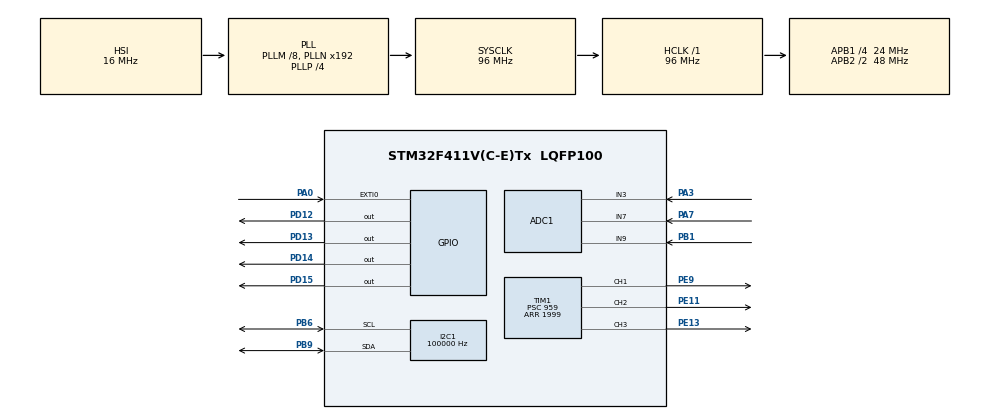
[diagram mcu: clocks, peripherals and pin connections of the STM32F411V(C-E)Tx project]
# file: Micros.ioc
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ADC1.Channel-1\#ChannelRegularConversion=ADC_CHANNEL_3
ADC1.Channel-2\#ChannelRegularConversion=ADC_CHANNEL_7
ADC1.Channel-3\#ChannelRegularConversion=ADC_CHANNEL_9
ADC1.ContinuousConvMode=ENABLE
ADC1.DMAContinuousRequests=ENABLE
ADC1.InjNumberOfConversion=0
ADC1.NbrOfConversion=3
ADC1.NbrOfConversionFlag=1
ADC1.Rank-1\#ChannelRegularConversion=1
ADC1.Rank-2\#ChannelRegularConversion=2
ADC1.Rank-3\#ChannelRegularConversion=3
ADC1.SamplingTime-1\#ChannelRegularConversion=ADC_SAMPLETIME_84CYCLES
ADC1.SamplingTime-2\#ChannelRegularConversion=ADC_SAMPLETIME_84CYCLES
ADC1.SamplingTime-3\#ChannelRegularConversion=ADC_SAMPLETIME_84CYCLES
ADC1.ScanConvMode=ENABLE
ADC1.master=1
Dma.ADC1.0.Direction=DMA_PERIPH_TO_MEMORY
Dma.ADC1.0.FIFOMode=DMA_FIFOMODE_DISABLE
Dma.ADC1.0.Instance=DMA2_Stream0
Dma.ADC1.0.MemDataAlignment=DMA_MDATAALIGN_WORD
Dma.ADC1.0.MemInc=DMA_MINC_ENABLE
Dma.ADC1.0.Mode=DMA_CIRCULAR
Dma.ADC1.0.PeriphDataAlignment=DMA_PDATAALIGN_WORD
Dma.ADC1.0.PeriphInc=DMA_PINC_DISABLE
Dma.ADC1.0.Priority=DMA_PRIORITY_LOW
Dma.Request0=ADC1
I2C1.ClockSpeed=100000
Mcu.Family=STM32F4
Mcu.Name=STM32F411V(C-E)Tx
Mcu.Package=LQFP100
NVIC.DMA2_Stream0_IRQn=true\:0\:0\:false\:false\:true\:false\:true\:true
NVIC.EXTI0_IRQn=true\:0\:0\:false\:false\:true\:true\:true\:true
NVIC.PriorityGroup=NVIC_PRIORITYGROUP_0
PA0-WKUP.Signal=GPXTI0
PA3.Signal=ADCx_IN3
PA7.Signal=ADCx_IN7
PB1.Signal=ADCx_IN9
PB6.Mode=I2C
PB6.Signal=I2C1_SCL
PB9.Mode=I2C
PB9.Signal=I2C1_SDA
PD12.Signal=GPIO_Output
PD13.Signal=GPIO_Output
PD14.Signal=GPIO_Output
PD15.Signal=GPIO_Output
PE11.Signal=S_TIM1_CH2
PE13.Signal=S_TIM1_CH3
PE9.Signal=S_TIM1_CH1
ProjectManager.HeapSize=0x200
ProjectManager.StackSize=0x400
ProjectManager.TargetToolchain=STM32CubeIDE
RCC.48MHZClocksFreq_Value=48000000
RCC.AHBFreq_Value=96000000
RCC.APB1CLKDivider=RCC_HCLK_DIV4
RCC.APB1Freq_Value=24000000
RCC.APB1TimFreq_Value=48000000
RCC.APB2CLKDivider=RCC_HCLK_DIV2
RCC.APB2Freq_Value=48000000
RCC.APB2TimFreq_Value=96000000
RCC.CortexFreq_Value=96000000
RCC.HCLKFreq_Value=96000000
RCC.HSE_VALUE=8000000
RCC.HSI_VALUE=16000000
RCC.LSE_VALUE=32768
RCC.PLLI2SM=5
RCC.PLLI2SN=200
RCC.PLLM=8
RCC.PLLP=RCC_PLLP_DIV4
RCC.PLLQ=8
RCC.SYSCLKFreq_VALUE=96000000
RCC.SYSCLKSource=RCC_SYSCLKSOURCE_PLLCLK
RCC.VCOOutputFreq_Value=384000000
SH.ADCx_IN3.0=ADC1_IN3,IN3
SH.ADCx_IN7.0=ADC1_IN7,IN7
SH.ADCx_IN9.0=ADC1_IN9,IN9
SH.S_TIM1_CH1.0=TIM1_CH1,PWM Generation1 CH1
SH.S_TIM1_CH2.0=TIM1_CH2,PWM Generation2 CH2
SH.S_TIM1_CH3.0=TIM1_CH3,PWM Generation3 CH3
TIM1.Channel-PWM\ Generation1\ CH1=TIM_CHANNEL_1
TIM1.Channel-PWM\ Generation2\ CH2=TIM_CHANNEL_2
TIM1.Channel-PWM\ Generation3\ CH3=TIM_CHANNEL_3
TIM1.Period=1999
TIM1.Prescaler=959
TIM1.Pulse-PWM\ Generation1\ CH1=100
TIM1.Pulse-PWM\ Generation2\ CH2=100
VP_TIM1_VS_ClockSourceINT.Mode=Internal
board=STM32F411E-DISCO

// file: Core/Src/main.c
/* USER CODE BEGIN Header */
/**
 ******************************************************************************
 * @file           : main.c
 * @brief          : Main program body
 ******************************************************************************
 * @attention
 *
 * Copyright (c) 2024 STMicroelectronics.
 * All rights reserved.
 *
 * This software is licensed under terms that can be found in the LICENSE file
 * in the root directory of this software component.
 * If no LICENSE file comes with this software, it is provided AS-IS.
 *
 ******************************************************************************
 */
/* USER CODE END Header */
#include "main.h"

/* USER CODE BEGIN Includes */
#include <math.h>
/* USER CODE END Includes */

/* USER CODE BEGIN PTD */
typedef struct{
	float X, Y, Z;
}Deg;

typedef struct{
	int16_t X, Y, Z;
}Data;

typedef struct {
	int16_t min, max;
}limits;

//////////////////////////
//		Sensores		//
//////////////////////////
typedef enum {G2 = 0b00, G4 = 0b01, G8 = 0b10, G16 = 0b11 } range_accel;
typedef enum {G1_3 = 0b001, G1_9 = 010, G2_5 = 0b011, G4_0 = 0b100, G4_7 = 0b101, G5_6 = 0b110 ,G8_1 = 0b111} range_comp;
typedef enum {Hz1 = 0b0001, Hz10 = 0b0010, Hz25 = 0b0011, Hz50 = 0b0100, Hz100 = 0b0101, Hz200 = 0b0110, Hz400 = 0b0111, Lp_def = 0b1000, Nr_def = 0b1001} ODR_accel;
typedef enum {Hz0_75 = 0b000, Hz1_5 = 0b001, Hz3_0 = 0b010, Hz7_5 = 0b011, Hz15 = 0b100, Hz30 = 0b101, Hz75 = 0b110, Hz220 = 0b111} ODR_comp;

//Tolerancia en comparación, Diff
typedef enum {XYZ_OUT_TOL = 0, X_IN_TOL = 1, Y_IN_TOL = 2, Z_IN_TOL = 3, XY_IN_TOL = 4, XZ_IN_TOL = 5, YZ_IN_TOL = 6, XYZ_IN_TOL = 7} diferencia;

//////////////////////
//		Botón		//
//////////////////////

typedef enum {Potenciometro = 0, MEMS} estado;

/* USER CODE END PTD */

/* USER CODE BEGIN PM */
#define Accel_Dir 0b0011001
#define Comp_Dir 0b0011110

#define Ctrl_accel_dir1 0x20
#define Ctrl_accel_dir2 0x23
#define Data_accel_dir 0x28

#define Ctrl_comp_dir1    	0x00 // Registro de control CRA_REG_M
#define Ctrl_comp_dir2    	0x02 // Registro de modo MR_REG_M
#define Data_comp_dir		0x03 // Registro de salida X (bajo)

#define MAX_LSB 32768 //2^15

//Potenciómetros
#define Res_CAD 4095.0 //Resolución del CAD = 12 bits = 4096-1 valores
#define VREF 3.3 //Voltaje de referencia = 3.3V
#define Range_Deg 180.0 //Rango de grados [0-180]
#define Num_Pot 3

//Diff+Luces
#define tolerance 5 //tolerancia en grados +-º

/* USER CODE END PM */

ADC_HandleTypeDef hadc1;
DMA_HandleTypeDef hdma_adc1;

I2C_HandleTypeDef hi2c1;

TIM_HandleTypeDef htim1;

/* USER CODE BEGIN PV */
Deg orientacion;
estado mode = Potenciometro;
const Deg NULO = {90,90,90};
//////////////////////////
//		Sensores		//
//////////////////////////
const int16_t factor_accel[4] = {2,4,8,16};
const uint16_t factor_compXY[7] = {1100,855,670,450,400,330,230};
const uint16_t factor_compZ[7] = {980,760,600,400,355,295,205};

uint8_t f_accel, f_comp;
Data offset_accel;
Data offset_comp;
Deg Deg_MEMS;

HAL_StatusTypeDef status_; //auxiliar

float diff_x; //valores comparados en función Diff
float diff_y;
float diff_z;
diferencia comp_tol;
uint8_t aux_luces = 0;

//////////////////////////////
//		Potenciómetros		//
//////////////////////////////
Deg Deg_pot;
uint32_t Pot_in[Num_Pot];

//////////////////////
//		Servos		//
//////////////////////

/*añadir aquí*/

/* USER CODE END PV */

void SystemClock_Config(void);
static void MX_GPIO_Init(void);
static void MX_DMA_Init(void);
static void MX_I2C1_Init(void);
static void MX_ADC1_Init(void);
static void MX_TIM1_Init(void);
/* USER CODE BEGIN PFP */

void Luces(void);
void LucesMEMS(diferencia d);
void LucesPOT(void);
void LucesSlowMove(void);

diferencia Diff(Deg* act, Deg* obj);
//////////////////////////
//		Sensores		//
//////////////////////////
void Init_Accel_Comp(uint8_t low_power_mode, ODR_accel Data_rate_accel, range_accel sensitivity_accel, ODR_comp data_rate_comp, range_comp sensitivity_comp);

Deg GetAngle(Data offset_accel, Data offset_comp);

void CalibrateAccel(Data* accel);
void GetAccel(Data* accel, Data offset);
void GetAccelRaw(uint8_t* raw_accel);
void ProcessAccel(uint8_t* raw_accel, Data * accel);
void Accel2Deg(Deg * deg, Data accel);

void CalibrateComp(Data * offset);
void GetComp(Data* comp, Data offset);
void GetCompRaw(uint8_t* raw_compass);
void ProcessComp(uint8_t* raw_comp, Data * comp);
void Comp2Deg(Deg* result, Data comp);

void Lectura (uint16_t address, uint8_t reg_dir, uint8_t *msg, uint16_t msg_size);
void Escritura (uint16_t address, uint8_t reg_dir, uint8_t *msg, uint16_t msg_size);

//////////////////////////////
//		Potenciómetros		//
//////////////////////////////
void CalculoDegPot(void);

//////////////////////
//		Servos		//
//////////////////////
void SlowMove(Deg* orient, Deg ref);
void SetAngle(Deg grados);
Data Angle2PWM(Deg grados);
void SetPWM(Data ms);
int16_t map(limits input, limits output, float signal);

/* USER CODE END PFP */

/* USER CODE BEGIN 0 */
volatile uint8_t flag_bt = 0;
void HAL_GPIO_EXTI_Callback(uint16_t GPIO_Pin){
	if(GPIO_Pin == GPIO_PIN_0){
		flag_bt = 1;
		mode = !mode;
	}
}

volatile uint8_t flag_pot = 0;
void HAL_ADC_ConvCpltCallback(ADC_HandleTypeDef* hadc){
	if (hadc->Instance == ADC1){
		flag_pot = 1;
	}
}

/* USER CODE END 0 */

int main(void)
{

	/* MCU Configuration--------------------------------------------------------*/

	/* Reset of all peripherals, Initializes the Flash interface and the Systick. */
	HAL_Init();

	/* Configure the system clock */
	SystemClock_Config();

	/* Initialize all configured peripherals */
	MX_GPIO_Init();
	MX_DMA_Init();
	MX_I2C1_Init();
	MX_ADC1_Init();
	MX_TIM1_Init();
	/* USER CODE BEGIN 2 */

	HAL_NVIC_DisableIRQ(EXTI0_IRQn);
	//inicializaiones necesarias

	Init_Accel_Comp(0, Hz50, G2, Hz15, G1_9);
	CalibrateAccel(&offset_accel);
	CalibrateComp(&offset_comp);

	HAL_NVIC_EnableIRQ(EXTI0_IRQn);

	HAL_ADC_Start_DMA(&hadc1, Pot_in, Num_Pot);
	HAL_TIM_PWM_Start(&htim1, TIM_CHANNEL_1);
	HAL_TIM_PWM_Start(&htim1, TIM_CHANNEL_2);
	HAL_TIM_PWM_Start(&htim1, TIM_CHANNEL_3);

	HAL_Delay(500);
	/* USER CODE END 2 */

	/* Infinite loop */
	/* USER CODE BEGIN WHILE */
	while (1)
	{
		if(flag_bt){ //Cambio de pulsado de botón Potenciómetro-MEMS viceversa
			if(mode == MEMS){
				SlowMove(&orientacion, NULO); //llevar a origen 90.90.0, 50 orientacion = 0.1 *0 +0.9 *orientacion
				Luces();
			}
			else{
				//flag_bt = 0;
				SlowMove(&orientacion, Deg_pot);
			}
		}
		else
		{
			HAL_NVIC_DisableIRQ(EXTI0_IRQn);	//evita cambiar de modo durante la obtencion de datos
			if(mode == Potenciometro){
				if(flag_pot == 1){
					CalculoDegPot();
				}
				orientacion = Deg_pot;
				Luces();
			}
			else if (mode == MEMS){
				Deg_MEMS = GetAngle(offset_accel, offset_comp);
				orientacion = Deg_MEMS;

				/*Comprobación objetivo cumplido*/
				comp_tol = Diff(&Deg_MEMS, &Deg_pot);
				if(comp_tol == XYZ_IN_TOL){ //Si he llegado a objetivo, cambio de modo
					Luces();
					mode = Potenciometro;
				}
				else { Luces(); }

			}
			HAL_NVIC_EnableIRQ(EXTI0_IRQn);
		}
		/*Funcion que controla servos*/
		//añadir aquí
		SetAngle(orientacion);
		/* USER CODE END WHILE */

	}
}

void SystemClock_Config(void)
{
	RCC_OscInitTypeDef RCC_OscInitStruct = {0};
	RCC_ClkInitTypeDef RCC_ClkInitStruct = {0};

	/** Configure the main internal regulator output voltage
	 */
	__HAL_RCC_PWR_CLK_ENABLE();
	__HAL_PWR_VOLTAGESCALING_CONFIG(PWR_REGULATOR_VOLTAGE_SCALE1);

	/** Initializes the RCC Oscillators according to the specified parameters
	 * in the RCC_OscInitTypeDef structure.
	 */
	RCC_OscInitStruct.OscillatorType = RCC_OSCILLATORTYPE_HSI;
	RCC_OscInitStruct.HSIState = RCC_HSI_ON;
	RCC_OscInitStruct.HSICalibrationValue = RCC_HSICALIBRATION_DEFAULT;
	RCC_OscInitStruct.PLL.PLLState = RCC_PLL_ON;
	RCC_OscInitStruct.PLL.PLLSource = RCC_PLLSOURCE_HSI;
	RCC_OscInitStruct.PLL.PLLM = 8;
	RCC_OscInitStruct.PLL.PLLN = 192;
	RCC_OscInitStruct.PLL.PLLP = RCC_PLLP_DIV4;
	RCC_OscInitStruct.PLL.PLLQ = 8;
	if (HAL_RCC_OscConfig(&RCC_OscInitStruct) != HAL_OK)
	{
		Error_Handler();
	}

	/** Initializes the CPU, AHB and APB buses clocks
	 */
	RCC_ClkInitStruct.ClockType = RCC_CLOCKTYPE_HCLK|RCC_CLOCKTYPE_SYSCLK
			|RCC_CLOCKTYPE_PCLK1|RCC_CLOCKTYPE_PCLK2;
	RCC_ClkInitStruct.SYSCLKSource = RCC_SYSCLKSOURCE_PLLCLK;
	RCC_ClkInitStruct.AHBCLKDivider = RCC_SYSCLK_DIV1;
	RCC_ClkInitStruct.APB1CLKDivider = RCC_HCLK_DIV4;
	RCC_ClkInitStruct.APB2CLKDivider = RCC_HCLK_DIV2;

	if (HAL_RCC_ClockConfig(&RCC_ClkInitStruct, FLASH_LATENCY_3) != HAL_OK)
	{
		Error_Handler();
	}
}

static void MX_ADC1_Init(void)
{

	ADC_ChannelConfTypeDef sConfig = {0};

	/** Configure the global features of the ADC (Clock, Resolution, Data Alignment and number of conversion)
	 */
	hadc1.Instance = ADC1;
	hadc1.Init.ClockPrescaler = ADC_CLOCK_SYNC_PCLK_DIV2;
	hadc1.Init.Resolution = ADC_RESOLUTION_12B;
	hadc1.Init.ScanConvMode = ENABLE;
	hadc1.Init.ContinuousConvMode = ENABLE;
	hadc1.Init.DiscontinuousConvMode = DISABLE;
	hadc1.Init.ExternalTrigConvEdge = ADC_EXTERNALTRIGCONVEDGE_NONE;
	hadc1.Init.ExternalTrigConv = ADC_SOFTWARE_START;
	hadc1.Init.DataAlign = ADC_DATAALIGN_RIGHT;
	hadc1.Init.NbrOfConversion = 3;
	hadc1.Init.DMAContinuousRequests = ENABLE;
	hadc1.Init.EOCSelection = ADC_EOC_SINGLE_CONV;
	if (HAL_ADC_Init(&hadc1) != HAL_OK)
	{
		Error_Handler();
	}

	/** Configure for the selected ADC regular channel its corresponding rank in the sequencer and its sample time.
	 */
	sConfig.Channel = ADC_CHANNEL_3;
	sConfig.Rank = 1;
	sConfig.SamplingTime = ADC_SAMPLETIME_84CYCLES;
	if (HAL_ADC_ConfigChannel(&hadc1, &sConfig) != HAL_OK)
	{
		Error_Handler();
	}

	/** Configure for the selected ADC regular channel its corresponding rank in the sequencer and its sample time.
	 */
	sConfig.Channel = ADC_CHANNEL_7;
	sConfig.Rank = 2;
	if (HAL_ADC_ConfigChannel(&hadc1, &sConfig) != HAL_OK)
	{
		Error_Handler();
	}

	/** Configure for the selected ADC regular channel its corresponding rank in the sequencer and its sample time.
	 */
	sConfig.Channel = ADC_CHANNEL_9;
	sConfig.Rank = 3;
	if (HAL_ADC_ConfigChannel(&hadc1, &sConfig) != HAL_OK)
	{
		Error_Handler();
	}

}

static void MX_I2C1_Init(void)
{

	hi2c1.Instance = I2C1;
	hi2c1.Init.ClockSpeed = 100000;
	hi2c1.Init.DutyCycle = I2C_DUTYCYCLE_2;
	hi2c1.Init.OwnAddress1 = 0;
	hi2c1.Init.AddressingMode = I2C_ADDRESSINGMODE_7BIT;
	hi2c1.Init.DualAddressMode = I2C_DUALADDRESS_DISABLE;
	hi2c1.Init.OwnAddress2 = 0;
	hi2c1.Init.GeneralCallMode = I2C_GENERALCALL_DISABLE;
	hi2c1.Init.NoStretchMode = I2C_NOSTRETCH_DISABLE;
	if (HAL_I2C_Init(&hi2c1) != HAL_OK)
	{
		Error_Handler();
	}

}

static void MX_TIM1_Init(void)
{

	TIM_ClockConfigTypeDef sClockSourceConfig = {0};
	TIM_MasterConfigTypeDef sMasterConfig = {0};
	TIM_OC_InitTypeDef sConfigOC = {0};
	TIM_BreakDeadTimeConfigTypeDef sBreakDeadTimeConfig = {0};

	htim1.Instance = TIM1;
	htim1.Init.Prescaler = 959;
	htim1.Init.CounterMode = TIM_COUNTERMODE_UP;
	htim1.Init.Period = 1999;
	htim1.Init.ClockDivision = TIM_CLOCKDIVISION_DIV1;
	htim1.Init.RepetitionCounter = 0;
	htim1.Init.AutoReloadPreload = TIM_AUTORELOAD_PRELOAD_DISABLE;
	if (HAL_TIM_Base_Init(&htim1) != HAL_OK)
	{
		Error_Handler();
	}
	sClockSourceConfig.ClockSource = TIM_CLOCKSOURCE_INTERNAL;
	if (HAL_TIM_ConfigClockSource(&htim1, &sClockSourceConfig) != HAL_OK)
	{
		Error_Handler();
	}
	if (HAL_TIM_PWM_Init(&htim1) != HAL_OK)
	{
		Error_Handler();
	}
	sMasterConfig.MasterOutputTrigger = TIM_TRGO_RESET;
	sMasterConfig.MasterSlaveMode = TIM_MASTERSLAVEMODE_DISABLE;
	if (HAL_TIMEx_MasterConfigSynchronization(&htim1, &sMasterConfig) != HAL_OK)
	{
		Error_Handler();
	}
	sConfigOC.OCMode = TIM_OCMODE_PWM1;
	sConfigOC.Pulse = 100;
	sConfigOC.OCPolarity = TIM_OCPOLARITY_HIGH;
	sConfigOC.OCNPolarity = TIM_OCNPOLARITY_HIGH;
	sConfigOC.OCFastMode = TIM_OCFAST_DISABLE;
	sConfigOC.OCIdleState = TIM_OCIDLESTATE_RESET;
	sConfigOC.OCNIdleState = TIM_OCNIDLESTATE_RESET;
	if (HAL_TIM_PWM_ConfigChannel(&htim1, &sConfigOC, TIM_CHANNEL_1) != HAL_OK)
	{
		Error_Handler();
	}
	if (HAL_TIM_PWM_ConfigChannel(&htim1, &sConfigOC, TIM_CHANNEL_2) != HAL_OK)
	{
		Error_Handler();
	}
	sConfigOC.Pulse = 0;
	if (HAL_TIM_PWM_ConfigChannel(&htim1, &sConfigOC, TIM_CHANNEL_3) != HAL_OK)
	{
		Error_Handler();
	}
	sBreakDeadTimeConfig.OffStateRunMode = TIM_OSSR_DISABLE;
	sBreakDeadTimeConfig.OffStateIDLEMode = TIM_OSSI_DISABLE;
	sBreakDeadTimeConfig.LockLevel = TIM_LOCKLEVEL_OFF;
	sBreakDeadTimeConfig.DeadTime = 0;
	sBreakDeadTimeConfig.BreakState = TIM_BREAK_DISABLE;
	sBreakDeadTimeConfig.BreakPolarity = TIM_BREAKPOLARITY_HIGH;
	sBreakDeadTimeConfig.AutomaticOutput = TIM_AUTOMATICOUTPUT_DISABLE;
	if (HAL_TIMEx_ConfigBreakDeadTime(&htim1, &sBreakDeadTimeConfig) != HAL_OK)
	{
		Error_Handler();
	}
	HAL_TIM_MspPostInit(&htim1);

}

static void MX_DMA_Init(void)
{

	/* DMA controller clock enable */
	__HAL_RCC_DMA2_CLK_ENABLE();

	/* DMA interrupt init */
	/* DMA2_Stream0_IRQn interrupt configuration */
	HAL_NVIC_SetPriority(DMA2_Stream0_IRQn, 0, 0);
	HAL_NVIC_EnableIRQ(DMA2_Stream0_IRQn);

}

static void MX_GPIO_Init(void)
{
	GPIO_InitTypeDef GPIO_InitStruct = {0};

	/* GPIO Ports Clock Enable */
	__HAL_RCC_GPIOA_CLK_ENABLE();
	__HAL_RCC_GPIOB_CLK_ENABLE();
	__HAL_RCC_GPIOE_CLK_ENABLE();
	__HAL_RCC_GPIOD_CLK_ENABLE();

	/*Configure GPIO pin Output Level */
	HAL_GPIO_WritePin(GPIOD, GPIO_PIN_12|GPIO_PIN_13|GPIO_PIN_14|GPIO_PIN_15, GPIO_PIN_RESET);

	/*Configure GPIO pin : PA0 */
	GPIO_InitStruct.Pin = GPIO_PIN_0;
	GPIO_InitStruct.Mode = GPIO_MODE_IT_RISING;
	GPIO_InitStruct.Pull = GPIO_NOPULL;
	HAL_GPIO_Init(GPIOA, &GPIO_InitStruct);

	/*Configure GPIO pins : PD12 PD13 PD14 PD15 */
	GPIO_InitStruct.Pin = GPIO_PIN_12|GPIO_PIN_13|GPIO_PIN_14|GPIO_PIN_15;
	GPIO_InitStruct.Mode = GPIO_MODE_OUTPUT_PP;
	GPIO_InitStruct.Pull = GPIO_NOPULL;
	GPIO_InitStruct.Speed = GPIO_SPEED_FREQ_LOW;
	HAL_GPIO_Init(GPIOD, &GPIO_InitStruct);

	/* EXTI interrupt init*/
	HAL_NVIC_SetPriority(EXTI0_IRQn, 0, 0);
	HAL_NVIC_EnableIRQ(EXTI0_IRQn);

}

/* USER CODE BEGIN 4 */
//////////////////////////
//		Sensores		//
//////////////////////////
void Init_Accel_Comp(uint8_t low_power_mode, ODR_accel Data_rate_accel, range_accel sensitivity_accel, ODR_comp data_rate_comp, range_comp sensitivity_comp){
	uint8_t i2c_TxBuf[2];
	uint8_t i2c_RxBuf[2];

	//init accel
	i2c_TxBuf[0] = (Data_rate_accel<<4)|(low_power_mode<<3)|(0b111);
	Escritura(Accel_Dir, Ctrl_accel_dir1, i2c_TxBuf, 1);

	Lectura(Accel_Dir, Ctrl_accel_dir2, i2c_RxBuf, 1);
	i2c_RxBuf[0] &= (0xff & ((sensitivity_accel<<4)|0b1111)) ;	//0b11--_1111
	i2c_RxBuf[0] |= sensitivity_accel<<4;						//0b00--_0000
	i2c_TxBuf[0] = i2c_RxBuf[0];
	Escritura(Accel_Dir, Ctrl_accel_dir2, i2c_TxBuf, 1);

	//init compas
	i2c_TxBuf[0] = 0x00;
	Escritura(Comp_Dir, Ctrl_comp_dir2, i2c_TxBuf, 1);

	Lectura(Comp_Dir, Ctrl_comp_dir1, i2c_RxBuf, 2);
	i2c_RxBuf[0] &= (0xff & ((data_rate_comp<<2)|0b11)) ;	//0b111-_--11
	i2c_RxBuf[0] |= data_rate_comp<<2;						//0b000-_--00
	i2c_TxBuf[0] = i2c_RxBuf[0];

	i2c_RxBuf[1] &= ((sensitivity_comp<<5)|0b11111) ;	//0b---1_1111
	i2c_RxBuf[1] |= sensitivity_comp<<5;				//0b---0_0000
	i2c_TxBuf[1] = i2c_RxBuf[1];
	Escritura(Comp_Dir, Ctrl_comp_dir1, i2c_TxBuf, 2);

	switch(sensitivity_accel){
	case G2:
	{
		f_accel = 0;
		break;
	}
	case G4:
	{
		f_accel = 1;
		break;
	}
	case G8:
	{
		f_accel = 2;
		break;
	}
	case G16:
	{
		f_accel = 3;
		break;
	}
	}
	switch(sensitivity_comp){
	case G1_3:
	{
		f_comp = 0;
		break;
	}
	case G1_9:
	{
		f_comp = 1;
		break;
	}
	case G2_5:
	{
		f_comp = 2;
		break;
	}
	case G4_0:
	{
		f_comp = 3;
		break;
	}
	case G4_7:
	{
		f_comp = 4;
		break;
	}
	case G5_6:
	{
		f_comp = 5;
		break;
	}
	case G8_1:
	{
		f_comp = 6;
		break;
	}
	}
}
Deg GetAngle(Data offset_accel, Data offset_comp)
{
	Deg Deg;
	Data accel, comp;

	GetAccel(&accel, offset_accel);
	Accel2Deg(&Deg, accel);

	GetComp(&comp, offset_comp);
	Comp2Deg(&Deg, comp);

	Deg.X += 90;	Deg.Y += 90;	Deg.Z += 90;
	return Deg;
}

void CalibrateAccel(Data * offset){
	Data temp;
	uint8_t raw_data[6];
	const uint8_t max = 20;

	offset->X = 0;	offset->Y = 0;	offset->Z = 0;

	for(int i = 0; i< max; i++){
		GetAccelRaw(raw_data);
		ProcessAccel(raw_data, &temp);
		offset->X += temp.X;	offset->Y += temp.Y;	offset->Z += temp.Z;
	}
	offset->X /= max;	offset->Y /= max;	offset->Z /= max;
	offset->X = 0- offset->X;	offset->Y = 0- offset->Y;	offset->Z = 1000- offset->Z;
}
void GetAccel(Data* accel, Data offset){
	uint8_t raw_data[6];
	GetAccelRaw(raw_data);
	ProcessAccel(raw_data, accel);

	accel->X += offset.X;	accel->Y += offset.Y;	accel->Z += offset.Z;
}
void GetAccelRaw(uint8_t* raw_accel){
	Lectura(Accel_Dir, Data_accel_dir, raw_accel, 6);
}
void ProcessAccel(uint8_t* raw_accel, Data * accel){
	Data raw;

	raw.X = (raw_accel[1]<<8)|raw_accel[0];
	raw.Y = (raw_accel[3]<<8)|raw_accel[2];
	raw.Z = (raw_accel[5]<<8)|raw_accel[4];

	accel->X = raw.X * 1000 * factor_accel[f_accel] / MAX_LSB;	//resultdo en mG
	accel->Y = raw.Y * 1000 * factor_accel[f_accel] / MAX_LSB;
	accel->Z = raw.Z * 1000 * factor_accel[f_accel] / MAX_LSB;
}

void Accel2Deg(Deg * deg, Data accel){
	deg->X = (atan(accel.Y / sqrt(accel.X * accel.X + accel.Z * accel.Z)) * 180.0 / 3.1416);
	deg->Y = (atan(-accel.X / sqrt(accel.Y * accel.Y + accel.Z * accel.Z)) * 180.0 / 3.1416);

}

void CalibrateComp(Data * offset){
	Data temp;
	uint8_t raw_data[6];
	const uint8_t max = 20;

	offset->X = 0;	offset->Y = 0;	offset->Z = 0;

	for(int i = 0; i< max; i++){
		GetCompRaw(raw_data);
		ProcessComp(raw_data, &temp);
		offset->X += temp.X;	offset->Y += temp.Y;	offset->Z += temp.Z;
	}
	offset->X /= max;	offset->Y /= max;	offset->Z /= max;
	offset->X = 0 - offset->X;	offset->Y = 0 - offset->Y;	offset->Z = 650 - offset->Z;
	//revisar max intentisy de campo magnetico terrestre.
}
void GetComp(Data* comp, Data offset){
	uint8_t raw_data[6];
	GetCompRaw(raw_data);
	ProcessComp(raw_data, comp);

	comp->X += offset.X;	comp->Y += offset.Y;	comp->Z += offset.Z;
}
void GetCompRaw(uint8_t* raw_compass){
	Lectura(Comp_Dir, Data_comp_dir, raw_compass, 6);
}
void ProcessComp(uint8_t* raw_comp, Data * comp){
	Data raw;

	raw.X = (raw_comp[0]<<8)|raw_comp[1];
	raw.Y = (raw_comp[4]<<8)|raw_comp[5];
	raw.Z = (raw_comp[2]<<8)|raw_comp[3];

	comp->X = raw.X * 1000 / factor_compXY[f_comp];	//resultdo en mG
	comp->Y = raw.Y * 1000 / factor_compXY[f_comp];
	comp->Z = raw.Z * 1000 / factor_compZ[f_comp];
}

void Comp2Deg(Deg *result, Data comp){
	float Xm, Ym;
	Xm = comp.X * cos(result->Y) + comp.Z * sin(result->Y);
	Ym = comp.X * sin(result->X)* sin(result->Y) + comp.Y * cos(result->X) - comp.Z * sin(result->X)* cos(result->Y);

	result->Z = atan(Ym/Xm);
}

void Escritura(uint16_t address, uint8_t reg_dir, uint8_t * msg, uint16_t msg_size){
	uint16_t device = (address<<1);
	uint8_t trama[2];

	for(int i = 0; i< msg_size;i++)
	{
		trama[0] = reg_dir+i;
		trama[1] = *(msg+i);
		status_ = HAL_I2C_Master_Transmit(&hi2c1, device, trama, 2, HAL_MAX_DELAY);
	}
}
void Lectura(uint16_t address, uint8_t reg_dir, uint8_t *msg, uint16_t msg_size){
	uint16_t device = (address<<1)|1;
	uint8_t direccion = reg_dir;
	if (msg_size > 1) direccion |= 0x80;

	status_ = HAL_I2C_Master_Transmit(&hi2c1, device, &direccion, 1, HAL_MAX_DELAY);
	status_ = HAL_I2C_Master_Receive(&hi2c1, device, msg, msg_size, HAL_MAX_DELAY);
}

void SlowMove(Deg* orient, Deg ref){
	float factor = 0.9;
	orient->X = ref.X *(1-factor) + orient->X * factor;
	orient->Y = ref.Y *(1-factor) + orient->Y * factor;
	orient->Z = ref.Z *(1-factor) + orient->Z * factor;

	if(Diff(&ref, orient) == XYZ_IN_TOL){flag_bt = 0;}
}

diferencia Diff(Deg* act, Deg* obj){
	//Comparo valores
	diff_x = fabs(act->X - obj->X); //fabs = float abs
	diff_y = fabs(act->Y - obj->Y);
	diff_z = fabs(act->Z - obj->Z);

	if     ( (diff_x > tolerance) && (diff_y > tolerance) && (diff_z > tolerance) ) {return XYZ_OUT_TOL;}
	else if( (diff_x < tolerance) && (diff_y < tolerance) && (diff_z < tolerance) ) {return XYZ_IN_TOL;}
	else if( (diff_y < tolerance) && (diff_z < tolerance) ) {return YZ_IN_TOL;}
	else if( (diff_x < tolerance) && (diff_z < tolerance) ) {return XZ_IN_TOL;}
	else if( (diff_x < tolerance) && (diff_y < tolerance) ) {return XY_IN_TOL;}
	else if( (diff_z < tolerance) ) {return Z_IN_TOL;}
	else if( (diff_y < tolerance) ) {return Y_IN_TOL;}
	else if( (diff_x < tolerance) ) {return X_IN_TOL;}
	else {return XYZ_OUT_TOL;}

}

void Luces(void){

	if (mode == Potenciometro){
		LucesPOT();
	}
	else if (mode == MEMS && flag_bt == 0){
		LucesMEMS(comp_tol);
	}
	else if (mode == MEMS && flag_bt == 1){
		LucesSlowMove();
	}
}

void LucesSlowMove(void){
	HAL_GPIO_TogglePin(GPIOD, GPIO_PIN_12);
	HAL_GPIO_TogglePin(GPIOD, GPIO_PIN_13);
	HAL_GPIO_TogglePin(GPIOD, GPIO_PIN_14);
	HAL_GPIO_TogglePin(GPIOD, GPIO_PIN_15);
	HAL_Delay(10);
}

void LucesPOT(void){
	HAL_GPIO_TogglePin(GPIOD, GPIO_PIN_12);
	HAL_Delay(20);
	HAL_GPIO_TogglePin(GPIOD, GPIO_PIN_13);
	HAL_Delay(20);
	HAL_GPIO_TogglePin(GPIOD, GPIO_PIN_14);
	HAL_Delay(20);
	HAL_GPIO_TogglePin(GPIOD, GPIO_PIN_15);
	HAL_Delay(20);
}

void LucesMEMS(diferencia d){

	HAL_GPIO_WritePin(GPIOD, GPIO_PIN_15, 0);

	switch(d){
	case XYZ_IN_TOL:
		for (int i=0; i<5; i++){
			HAL_GPIO_WritePin(GPIOD, GPIO_PIN_12, 1); //X
			HAL_GPIO_WritePin(GPIOD, GPIO_PIN_13, 1); //Y
			HAL_GPIO_WritePin(GPIOD, GPIO_PIN_14, 1); //Z
			HAL_GPIO_WritePin(GPIOD, GPIO_PIN_15, 1);

			HAL_Delay(200);

			HAL_GPIO_WritePin(GPIOD, GPIO_PIN_12, 0);
			HAL_GPIO_WritePin(GPIOD, GPIO_PIN_13, 0);
			HAL_GPIO_WritePin(GPIOD, GPIO_PIN_14, 0);
			HAL_GPIO_WritePin(GPIOD, GPIO_PIN_15, 0);

			HAL_Delay(200);
		}
		break;

	case XYZ_OUT_TOL:
		HAL_GPIO_WritePin(GPIOD, GPIO_PIN_12, 0); //X
		HAL_GPIO_WritePin(GPIOD, GPIO_PIN_13, 0); //Y
		HAL_GPIO_WritePin(GPIOD, GPIO_PIN_14, 0); //Z
		break;

	case YZ_IN_TOL:
		HAL_GPIO_WritePin(GPIOD, GPIO_PIN_12, 0); //X
		HAL_GPIO_WritePin(GPIOD, GPIO_PIN_13, 1); //Y
		HAL_GPIO_WritePin(GPIOD, GPIO_PIN_14, 1); //Z
		break;

	case XZ_IN_TOL:
		HAL_GPIO_WritePin(GPIOD, GPIO_PIN_12, 1); //X
		HAL_GPIO_WritePin(GPIOD, GPIO_PIN_13, 0); //Y
		HAL_GPIO_WritePin(GPIOD, GPIO_PIN_14, 1); //Z
		break;

	case XY_IN_TOL:
		HAL_GPIO_WritePin(GPIOD, GPIO_PIN_12, 1); //X
		HAL_GPIO_WritePin(GPIOD, GPIO_PIN_13, 1); //Y
		HAL_GPIO_WritePin(GPIOD, GPIO_PIN_14, 0); //Z
		break;

	case Z_IN_TOL:
		HAL_GPIO_WritePin(GPIOD, GPIO_PIN_12, 0); //X
		HAL_GPIO_WritePin(GPIOD, GPIO_PIN_13, 0); //Y
		HAL_GPIO_WritePin(GPIOD, GPIO_PIN_14, 1); //Z
		break;

	case Y_IN_TOL:
		HAL_GPIO_WritePin(GPIOD, GPIO_PIN_12, 0); //X
		HAL_GPIO_WritePin(GPIOD, GPIO_PIN_13, 1); //Y
		HAL_GPIO_WritePin(GPIOD, GPIO_PIN_14, 0); //Z
		break;

	case X_IN_TOL:
		HAL_GPIO_WritePin(GPIOD, GPIO_PIN_12, 1); //X
		HAL_GPIO_WritePin(GPIOD, GPIO_PIN_13, 0); //Y
		HAL_GPIO_WritePin(GPIOD, GPIO_PIN_14, 0); //Z
		break;

	default:
		HAL_GPIO_WritePin(GPIOD, GPIO_PIN_12, 0); //X
		HAL_GPIO_WritePin(GPIOD, GPIO_PIN_13, 0); //Y
		HAL_GPIO_WritePin(GPIOD, GPIO_PIN_14, 0); //Z
		break;
	}
}

//////////////////////////////
//		Potenciómetros		//
//////////////////////////////
void CalculoDegPot(){

	//Conversión de señal CAD a grados del servo. Res_CAD = 12 bits = 4096-1 ; Range_Deg = 180º
	Deg_pot.X = ( Pot_in[0] / Res_CAD ) * Range_Deg;
	Deg_pot.Y = ( Pot_in[1] / Res_CAD ) * Range_Deg;
	Deg_pot.Z = ( Pot_in[2] / Res_CAD ) * Range_Deg;

	//Reinicio bandera
	flag_pot = 0;
}

//////////////////////
//		Servos		//
//////////////////////

void SetAngle(Deg obj) {
	Data PWM = Angle2PWM(obj);
	SetPWM(PWM);
}
Data Angle2PWM(Deg angulo) {
	Data output;
	limits deg = { 0,180 }, ms = { 50,250 };
	output.X = map(deg, ms, angulo.X);
	output.Y = map(deg, ms, angulo.Y);
	output.Z = map(deg, ms, angulo.Z);
	return output;
}
int16_t map(limits input, limits output, float signal) {
	if (signal > input.max) signal = input.max;
	else if (signal < input.min) signal = input.min;

	int16_t out = ((float)(output.max - output.min) / (float)(input.max - input.min) * signal) + (float)output.min;
	return out;
}

void SetPWM(Data output) {
	__HAL_TIM_SET_COMPARE(&htim1, TIM_CHANNEL_1, output.X);
	__HAL_TIM_SET_COMPARE(&htim1, TIM_CHANNEL_2, output.Y);
	__HAL_TIM_SET_COMPARE(&htim1, TIM_CHANNEL_3, output.Z);
	HAL_Delay(500);
}
/* USER CODE END 4 */

void Error_Handler(void)
{
	__disable_irq();
	while (1)
	{
	}
}
